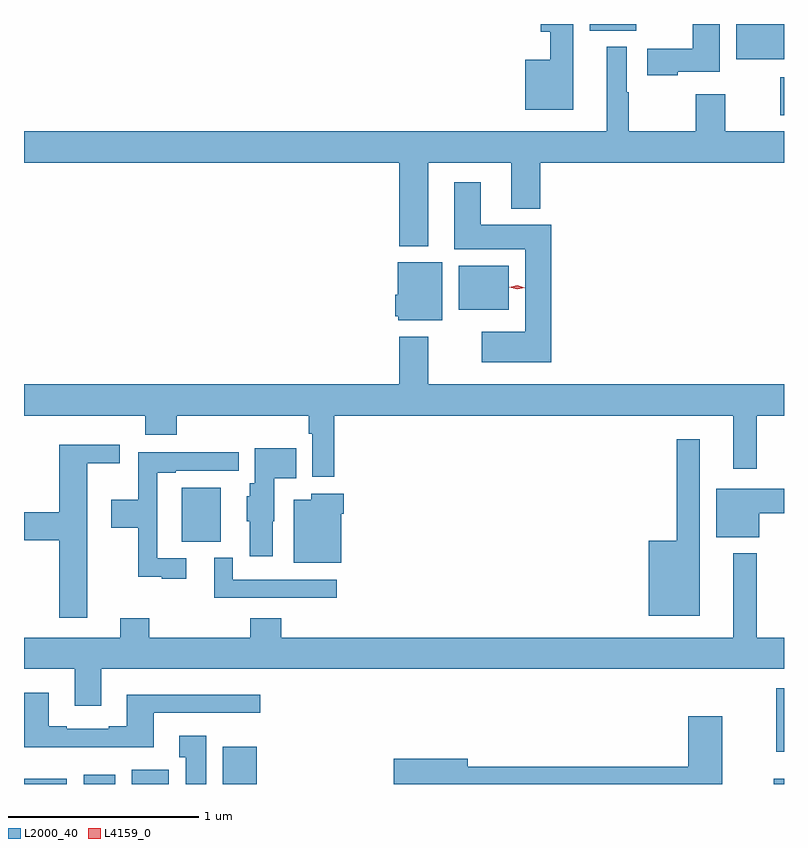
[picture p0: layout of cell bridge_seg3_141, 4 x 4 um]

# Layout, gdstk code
import gdstk
lib = gdstk.Library(unit=1e-6, precision=1e-09)
def R(c, l, rs):  # rectangles x0, y0, x1, y1
    for r in rs: c.add(gdstk.rectangle(r[:2], r[2:], *l))
def P(c, l, *ps):  # polygons
    for p in ps: c.add(gdstk.Polygon(p, *l))
L2000_40 = (2000, 40)
L4159_0 = (4159, 0)

bridge_seg3_141 = lib.new_cell('bridge_seg3_141')
R(bridge_seg3_141, L2000_40, [(351.645,694.981,351.871,695.008), (351.959,694.981,352.126,695.029), (352.211,694.981,352.408,695.056), (352.691,694.981,352.87,695.176), (355.592,694.981,355.645,695.008), (355.605,695.151,355.645,695.484), (352.475,696.257,352.681,696.541), (353.933,697.478,354.196,697.708), (355.624,698.502,355.645,698.7), (355.394,698.795,355.645,698.981), (354.623,698.945,354.868,698.981)])
P(bridge_seg3_141, L2000_40, [(354.535,698.981),(354.365,698.981),(354.365,698.939),(354.414,698.939),(354.414,698.794),(354.284,698.794),(354.284,698.531),(354.535,698.531)],
  [(355.086,698.729),(355.306,698.729),(355.306,698.981),(355.165,698.981),(355.165,698.852),(354.924,698.852),(354.924,698.71),(355.086,698.71)],
  [(353.773,698.252),(354.209,698.252),(354.209,698.009),(354.362,698.009),(354.362,698.252),(355.645,698.252),(355.645,698.416),(355.335,698.416),(355.335,698.611),(355.18,698.611),(355.18,698.416),(354.827,698.416),(354.827,698.621),(354.817,698.621),(354.817,698.86),(354.713,698.86),(354.713,698.416),(351.645,698.416),(351.645,698.252),(353.621,698.252),(353.621,697.811),(353.773,697.811)],
  [(354.419,697.924),(354.049,697.924),(354.049,698.149),(353.909,698.149),(353.909,697.796),(354.284,697.796),(354.284,697.36),(354.054,697.36),(354.054,697.202),(354.419,697.202)],
  [(353.845,697.726),(353.612,697.726),(353.612,697.557),(353.6,697.557),(353.6,697.443),(353.616,697.443),(353.616,697.421),(353.845,697.421)],
  [(353.279,696.92),(355.379,696.92),(355.379,696.639),(355.501,696.639),(355.501,696.92),(355.645,696.92),(355.645,697.084),(353.773,697.084),(353.773,697.336),(353.621,697.336),(353.621,697.084),(351.645,697.084),(351.645,696.92),(352.283,696.92),(352.283,696.818),(352.448,696.818),(352.448,696.92),(353.143,696.92),(353.143,696.824),(353.163,696.824),(353.163,696.597),(353.279,696.597)],
  [(355.201,696.796),(355.08,696.796),(355.08,696.262),(354.932,696.262),(354.932,695.867),(355.201,695.867)],
  [(351.979,696.668),(352.15,696.668),(352.15,696.766),(351.83,696.766),(351.83,696.41),(351.645,696.41),(351.645,696.263),(351.83,696.263),(351.83,695.856),(351.979,695.856)],
  [(352.954,696.363),(352.963,696.363),(352.963,696.59),(353.078,696.59),(353.078,696.748),(352.859,696.748),(352.859,696.564),(352.832,696.564),(352.832,696.495),(352.817,696.495),(352.817,696.363),(352.832,696.363),(352.832,696.18),(352.954,696.18)],
  [(352.498,696.168),(352.347,696.168),(352.347,696.618),(352.444,696.618),(352.444,696.63),(352.774,696.63),(352.774,696.728),(352.531,696.728),(352.531,696.726),(352.246,696.726),(352.246,696.478),(352.104,696.478),(352.104,696.331),(352.246,696.331),(352.246,696.071),(352.37,696.071),(352.37,696.06),(352.498,696.06)],
  [(355.516,696.406),(355.645,696.406),(355.645,696.535),(355.289,696.535),(355.289,696.281),(355.516,696.281)],
  [(353.314,696.404),(353.327,696.404),(353.327,696.508),(353.156,696.508),(353.156,696.478),(353.066,696.478),(353.066,696.146),(353.314,696.146)],
  [(355.645,695.752),(355.501,695.752),(355.501,696.196),(355.379,696.196),(355.379,695.752),(353,695.752),(353,695.854),(352.835,695.854),(352.835,695.752),(352.304,695.752),(352.304,695.854),(352.151,695.854),(352.151,695.752),(351.645,695.752),(351.645,695.588),(351.911,695.588),(351.911,695.394),(352.051,695.394),(352.051,695.588),(355.645,695.588)],
  [(353.29,696.057),(352.743,696.057),(352.743,696.172),(352.646,696.172),(352.646,695.961),(353.29,695.961)],
  [(352.327,695.355),(352.888,695.355),(352.888,695.452),(352.187,695.452),(352.187,695.284),(352.091,695.284),(352.091,695.271),(351.871,695.271),(351.871,695.284),(351.775,695.284),(351.775,695.461),(351.645,695.461),(351.645,695.174),(352.327,695.174)],
  [(355.32,695.338),(355.142,695.338),(355.142,695.072),(353.98,695.072),(353.98,695.115),(353.592,695.115),(353.592,694.981),(355.32,694.981)],
  [(352.603,695.236),(352.463,695.236),(352.463,695.123),(352.496,695.123),(352.496,694.981),(352.603,694.981)])
P(bridge_seg3_141, L4159_0, [(354.24,697.585),(354.2,697.595),(354.2,697.595),(354.2,697.595),(354.241,697.605),(354.281,697.594),(354.281,697.594),(354.281,697.594)])

lib.write_gds('bridge_seg3_141.gds')
